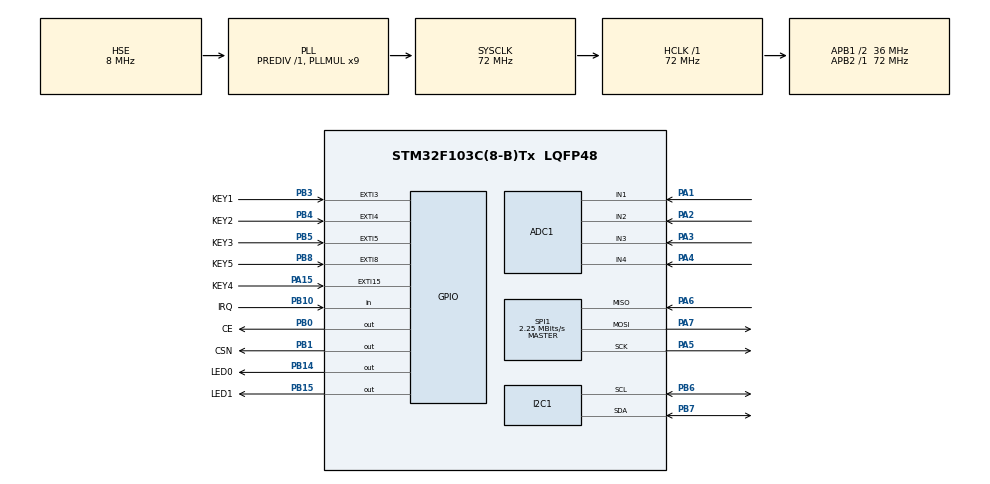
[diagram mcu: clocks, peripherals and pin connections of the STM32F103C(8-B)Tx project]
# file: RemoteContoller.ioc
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ADC1.Channel-1\#ChannelRegularConversion=ADC_CHANNEL_1
ADC1.Channel-2\#ChannelRegularConversion=ADC_CHANNEL_2
ADC1.Channel-3\#ChannelRegularConversion=ADC_CHANNEL_3
ADC1.Channel-4\#ChannelRegularConversion=ADC_CHANNEL_4
ADC1.ContinuousConvMode=DISABLE
ADC1.NbrOfConversion=4
ADC1.NbrOfConversionFlag=1
ADC1.Rank-1\#ChannelRegularConversion=1
ADC1.Rank-2\#ChannelRegularConversion=2
ADC1.Rank-3\#ChannelRegularConversion=3
ADC1.Rank-4\#ChannelRegularConversion=4
ADC1.SamplingTime-1\#ChannelRegularConversion=ADC_SAMPLETIME_55CYCLES_5
ADC1.SamplingTime-2\#ChannelRegularConversion=ADC_SAMPLETIME_55CYCLES_5
ADC1.SamplingTime-3\#ChannelRegularConversion=ADC_SAMPLETIME_55CYCLES_5
ADC1.SamplingTime-4\#ChannelRegularConversion=ADC_SAMPLETIME_55CYCLES_5
ADC1.master=1
Dma.ADC1.0.Direction=DMA_PERIPH_TO_MEMORY
Dma.ADC1.0.Instance=DMA1_Channel1
Dma.ADC1.0.MemDataAlignment=DMA_MDATAALIGN_HALFWORD
Dma.ADC1.0.MemInc=DMA_MINC_ENABLE
Dma.ADC1.0.Mode=DMA_CIRCULAR
Dma.ADC1.0.PeriphDataAlignment=DMA_PDATAALIGN_HALFWORD
Dma.ADC1.0.PeriphInc=DMA_PINC_DISABLE
Dma.ADC1.0.Priority=DMA_PRIORITY_LOW
Dma.Request0=ADC1
Mcu.Family=STM32F1
Mcu.Name=STM32F103C(8-B)Tx
Mcu.Package=LQFP48
NVIC.DMA1_Channel1_IRQn=true\:2\:0\:true\:false\:true\:false\:true\:true
NVIC.EXTI15_10_IRQn=true\:0\:0\:false\:false\:true\:true\:true\:true
NVIC.EXTI3_IRQn=true\:0\:0\:false\:false\:true\:true\:true\:true
NVIC.EXTI4_IRQn=true\:0\:0\:false\:false\:true\:true\:true\:true
NVIC.EXTI9_5_IRQn=true\:0\:0\:true\:false\:true\:true\:true\:true
NVIC.PriorityGroup=NVIC_PRIORITYGROUP_4
NVIC.TIM4_IRQn=true\:3\:0\:true\:false\:true\:true\:true\:true
PA1.Signal=ADCx_IN1
PA15.GPIO_Label=KEY4
PA15.GPIO_ModeDefaultEXTI=GPIO_MODE_IT_FALLING
PA15.Signal=GPXTI15
PA2.Signal=ADCx_IN2
PA3.Signal=ADCx_IN3
PA4.Signal=ADCx_IN4
PA5.Mode=Full_Duplex_Master
PA5.Signal=SPI1_SCK
PA6.Mode=Full_Duplex_Master
PA6.Signal=SPI1_MISO
PA7.Mode=Full_Duplex_Master
PA7.Signal=SPI1_MOSI
PB0.GPIO_Label=CE
PB0.GPIO_Speed=GPIO_SPEED_FREQ_HIGH
PB0.Signal=GPIO_Output
PB1.GPIO_Label=CSN
PB1.GPIO_Speed=GPIO_SPEED_FREQ_HIGH
PB1.Signal=GPIO_Output
PB10.GPIO_Label=IRQ
PB10.GPIO_PuPd=GPIO_PULLUP
PB10.Signal=GPIO_Input
PB14.GPIO_Label=LED0
PB14.GPIO_Speed=GPIO_SPEED_FREQ_HIGH
PB14.PinState=GPIO_PIN_SET
PB14.Signal=GPIO_Output
PB15.GPIO_Label=LED1
PB15.GPIO_Speed=GPIO_SPEED_FREQ_HIGH
PB15.Signal=GPIO_Output
PB3.GPIO_Label=KEY1
PB3.GPIO_ModeDefaultEXTI=GPIO_MODE_IT_RISING
PB3.Signal=GPXTI3
PB4.GPIO_Label=KEY2
PB4.GPIO_ModeDefaultEXTI=GPIO_MODE_IT_FALLING
PB4.Signal=GPXTI4
PB5.GPIO_Label=KEY3
PB5.GPIO_ModeDefaultEXTI=GPIO_MODE_IT_FALLING
PB5.Signal=GPXTI5
PB6.Mode=I2C
PB6.Signal=I2C1_SCL
PB7.Mode=I2C
PB7.Signal=I2C1_SDA
PB8.GPIO_Label=KEY5
PB8.GPIO_ModeDefaultEXTI=GPIO_MODE_IT_FALLING
PB8.Signal=GPXTI8
PC14-OSC32_IN.Mode=LSE-External-Oscillator
PC14-OSC32_IN.Signal=RCC_OSC32_IN
PC15-OSC32_OUT.Mode=LSE-External-Oscillator
PC15-OSC32_OUT.Signal=RCC_OSC32_OUT
PD0-OSC_IN.Mode=HSE-External-Oscillator
PD0-OSC_IN.Signal=RCC_OSC_IN
PD1-OSC_OUT.Mode=HSE-External-Oscillator
PD1-OSC_OUT.Signal=RCC_OSC_OUT
ProjectManager.HeapSize=0x200
ProjectManager.StackSize=0x400
ProjectManager.TargetToolchain=STM32CubeIDE
RCC.ADCPresc=RCC_ADCPCLK2_DIV6
RCC.AHBFreq_Value=72000000
RCC.APB1CLKDivider=RCC_HCLK_DIV2
RCC.APB1Freq_Value=36000000
RCC.APB1TimFreq_Value=72000000
RCC.APB2Freq_Value=72000000
RCC.APB2TimFreq_Value=72000000
RCC.HCLKFreq_Value=72000000
RCC.PLLMUL=RCC_PLL_MUL9
RCC.PLLSourceVirtual=RCC_PLLSOURCE_HSE
RCC.SYSCLKFreq_VALUE=72000000
RCC.SYSCLKSource=RCC_SYSCLKSOURCE_PLLCLK
RCC.USBFreq_Value=72000000
SH.ADCx_IN1.0=ADC1_IN1,IN1
SH.ADCx_IN2.0=ADC1_IN2,IN2
SH.ADCx_IN3.0=ADC1_IN3,IN3
SH.ADCx_IN4.0=ADC1_IN4,IN4
SPI1.BaudRatePrescaler=SPI_BAUDRATEPRESCALER_32
SPI1.CalculateBaudRate=2.25 MBits/s
SPI1.DataSize=SPI_DATASIZE_8BIT
SPI1.Direction=SPI_DIRECTION_2LINES
SPI1.Mode=SPI_MODE_MASTER
SPI1.VirtualType=VM_MASTER
TIM4.Period=7200-1
TIM4.Prescaler=1000-1
VP_SYS_VS_ND.Mode=No_Debug
VP_TIM4_VS_ClockSourceINT.Mode=Internal
board=custom

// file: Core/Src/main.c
/* USER CODE BEGIN Header */
/**
  ******************************************************************************
  * @file           : main.c
  * @brief          : Main program body
  ******************************************************************************
  * @attention
  *
  * Copyright (c) 2024 STMicroelectronics.
  * All rights reserved.
  *
  * This software is licensed under terms that can be found in the LICENSE file
  * in the root directory of this software component.
  * If no LICENSE file comes with this software, it is provided AS-IS.
  *
  ******************************************************************************
  */
/* USER CODE END Header */
#include "main.h"
#include "adc.h"
#include "dma.h"
#include "i2c.h"
#include "spi.h"
#include "tim.h"
#include "gpio.h"

/* USER CODE BEGIN Includes */
#include "nrf24.h"
#include "oled.h"
#include "menucontrol.h"
/* USER CODE END Includes */

/* USER CODE BEGIN PTD */

unsigned char Menu_Level = 1;
unsigned char SaveData_Should_Cpy;
unsigned char Focus_Line;
unsigned char Up_Limit = 1;
unsigned char Down_Limit = 4;
uint32_t delay_250ms = 3127 * 250;
uint32_t delay_1s = 3127 * 1000;

/* USER CODE END PTD */

/* USER CODE BEGIN PV */
unsigned char Menu_State = 0x00;
unsigned char Roller_UD_Control_State = 0;
unsigned char Trans_State = 0;
unsigned char Shovel_Manual_State = 0;
unsigned char Detect_Mode_State = 0;
unsigned char Platform_Mode_State = 0;
unsigned char Boost_State = 0;
unsigned char Key_OK = 1;

void HAL_GPIO_EXTI_Callback(uint16_t GPIO_Pin)
{
    UNUSED(GPIO_Pin);
    if (Key_OK == 1)
    {

        if (GPIO_Pin == KEY3_Pin)
        {
            Menu_State = 0x05;
        }
        if (GPIO_Pin == KEY2_Pin)
        {
            Menu_State = 0x04;
        }
        if (GPIO_Pin == KEY5_Pin) // StepOut
        {
            if (Menu_Level != 1)
            {
                OLED_Clear();
                Menu_Level = 1;
                SaveData_Should_Cpy = 1;
                OLED_ShowString(1, 1, "Roller&Boost");
                OLED_ShowString(2, 1, "Trans");
                OLED_ShowString(3, 1, "Sholve");
                OLED_ShowString(4, 1, "Camera&Platform");
                Control_Init();
                Up_Limit = 1;
                Down_Limit = 4;
                if (Shovel_Manual_State == 1)
                {
                    Menu_State = 0x19;
                    Shovel_Manual_State = 0;
                } else if (Detect_Mode_State == 1)
                {
                    Menu_State = 0x20;
                    Detect_Mode_State = 0;
                } else if (Platform_Mode_State == 1)
                {
                    Menu_State = 0x2C;
                    Platform_Mode_State = 0;
                } else if (Roller_UD_Control_State == 1)
                {
                    Menu_State = 0x34;
                    Roller_UD_Control_State = 0;
                } else if(Boost_State == 1)
                {
                    Menu_State = 0x38;
                    Boost_State = 0;
                }
            }
            if (Menu_State == 1)
            {

            }
        }
        if (GPIO_Pin == KEY4_Pin) // StepIn
        {
            if (Menu_Level == 1)
            {
                switch (Focus_Line)
                {
                    case 1:
                    {
                        OLED_Clear();
                        Menu_Level = 2;
                        SaveData_Should_Cpy = 1;
                        OLED_ShowString(1, 1, "*Roller*");
                        OLED_ShowString(2, 1, "Up&Down");
                        OLED_ShowString(3,1,"Boost_Mode");
                        Up_Limit = 2;
                        Down_Limit = 3;
                        Menu_Sec_Init();
                        break;
                    }
                    case 2:
                    {
                        OLED_Clear();
                        Menu_Level = 3;
                        SaveData_Should_Cpy = 1;
                        OLED_ShowString(1, 1, "*Trans*");
                        OLED_ShowString(2, 1, "Start or Stop");
                        OLED_ShowString(3, 1, "UnFold");
                        OLED_ShowString(4, 1, "Fold");
                        Up_Limit = 2;
                        Down_Limit = 4;
                        Menu_Sec_Init();
                        break;
                    }
                    case 3:
                    {
                        OLED_Clear();
                        Menu_Level = 4;
                        SaveData_Should_Cpy = 1;
                        OLED_ShowString(1, 1, "*Sholve*");
                        OLED_ShowString(2, 1, "Manual*None*");
                        OLED_ShowString(3, 1, "Auto Once");
                        OLED_ShowString(4, 1, "Manual Switch");
                        Up_Limit = 3;
                        Down_Limit = 4;
                        Menu_Sec_Init();
                        break;
                    }
                    case 4:
                    {
                        OLED_Clear();
                        Menu_Level = 5;
                        SaveData_Should_Cpy = 1;
                        OLED_ShowString(1, 1, "*Camera*");
                        OLED_ShowString(3, 1, "Detect Mode");
                        OLED_ShowString(4, 1, "Platform");
                        Up_Limit = 3;
                        Down_Limit = 4;
                        Menu_Sec_Init();
                        break;
                    }
                    default:
                    {
                    }
                }
            } else if (Menu_Level == 2) //Roller
            {
                switch (Focus_Line)
                {
                    case 2:
                    {
                        if (Roller_UD_Control_State == 0)
                        {
                            Menu_State = 0x35;
                            Roller_UD_Control_State = 1;
                            OLED_ShowString(4, 1, "Controlling");
                        } else if (Roller_UD_Control_State == 1)
                        {
                            Menu_State = 0x34;
                            Roller_UD_Control_State = 0;
                            OLED_ShowString(4, 1, "           ");
                        }
                        break;
                    }
                    case 3:
                    {
                        if(Boost_State == 0)
                        {
                            Menu_State = 0x39;
                            Boost_State = 1;
                            OLED_ShowString(4,1,"Boosting");
                        } else if(Boost_State == 1)
                        {
                            Menu_State =0x38;
                            Boost_State = 0;
                            OLED_ShowString(4, 1, "           ");
                        }
                    }
                    default:
                    {
                    }
                }
            } else if (Menu_Level == 3) // Trans
            {
                switch (Focus_Line)
                {
                    case 2: // Start and Stop
                    {
                        if (Trans_State == 0)
                        {
                            Menu_State = 0x0D;
                            Trans_State = 1;
                            OLED_ShowString(1, 1, "*Trans*Running");
                        } else if (Trans_State == 1)
                        {
                            Menu_State = 0x0C;
                            Trans_State = 0;
                            OLED_ShowString(1, 1, "*Trans*       ");
                        }
                        break;
                    }
                    case 3: // Unfold
                    {
                        Menu_State = 0x11;
                        break;
                    }
                    case 4: // Fold
                    {
                        Menu_State = 0x10;
                        break;
                    }
                    default:
                    {
                    }
                }
            } else if (Menu_Level == 4)
            {
                switch (Focus_Line)
                {
                    case 3:
                    {
                        Menu_State = 0x15;
                        break;
                    }
                    case 4:
                    {
                        if (Shovel_Manual_State == 0)
                        {
                            Menu_State = 0x18;
                            OLED_ShowString(2, 1, "Manual*ON*    ");
                            Shovel_Manual_State = 1;
                        } else if (Shovel_Manual_State == 1)
                        {
                            Menu_State = 0x19;
                            OLED_ShowString(2, 1, "Manual*OFF* ");
                            Shovel_Manual_State = 0;
                        }
                    }
                    default:
                    {
                    }
                }
            } else if (Menu_Level == 5)
            {
                switch (Focus_Line)
                {
                    case 3:
                    {
                        if (Detect_Mode_State == 0)
                        {
                            Menu_State = 0x21;
                            OLED_ShowString(2, 1, "Detecting");
                            Detect_Mode_State = 1;
                            break;
                        } else if (Detect_Mode_State == 1)
                        {
                            Menu_State = 0x20;
                            OLED_ShowString(2, 1, "                ");
                            Detect_Mode_State = 0;
                        }
                        break;
                    }
                    case 4:
                    {
                        if (Platform_Mode_State == 0)
                        {
                            Menu_State = 0x2D;
                            OLED_ShowString(2, 1, "Platforming");
                            Platform_Mode_State = 1;
                        } else if (Platform_Mode_State == 1)
                        {
                            Menu_State = 0x2C;
                            OLED_ShowString(2, 1, "              ");
                            Platform_Mode_State = 0;
                        }
                        break;
                    }
                    default:
                    {
                    }
                }

            }
        }
        Key_OK = 0;
        HAL_TIM_Base_Start_IT(&htim4);
    }
}

void HAL_TIM_PeriodElapsedCallback(TIM_HandleTypeDef *htim)
{
    Key_OK = 1;
    HAL_TIM_Base_Stop(&htim4);
}
/* USER CODE END PV */

void SystemClock_Config(void);

/* USER CODE BEGIN 0 */
unsigned char txbuf[32] = {0};

void ADC_To_Txbuf(uint8_t headnum, uint8_t value)
{
    txbuf[headnum] = value;
}
/* USER CODE END 0 */

int main(void)
{

  /* MCU Configuration--------------------------------------------------------*/

  /* Reset of all peripherals, Initializes the Flash interface and the Systick. */
  HAL_Init();

  /* Configure the system clock */
  SystemClock_Config();

  /* Initialize all configured peripherals */
  MX_GPIO_Init();
  MX_DMA_Init();
  MX_SPI1_Init();
  MX_ADC1_Init();
  MX_I2C1_Init();
  MX_TIM4_Init();
  /* USER CODE BEGIN 2 */
    uint16_t ADC_Value[4];
    unsigned char i;
    unsigned char LR_MenuControl = 1;
    HAL_ADC_Init(&hadc1);
    NRF_Init();
    OLED_Init();
    HAL_ADCEx_Calibration_Start(&hadc1);
    HAL_Delay(20);
    NRF_Check();
    NRF_TX_Mode();
    HAL_ADC_Start(&hadc1);
    OLED_ShowString(1, 1, "Roller&Boost");
    OLED_ShowString(2, 1, "Trans");
    OLED_ShowString(3, 1, "Sholve");
    OLED_ShowString(4, 1, "Camera&Platform");
    Control_Init();
    HAL_GPIO_WritePin(LED0_GPIO_Port, LED0_Pin, GPIO_PIN_SET);
  /* USER CODE END 2 */

  /* Infinite loop */
  /* USER CODE BEGIN WHILE */
    while (1)
    {
        HAL_ADC_PollForConversion(&hadc1, 8);
        if (HAL_IS_BIT_SET(HAL_ADC_GetState(&hadc1), HAL_ADC_STATE_REG_EOC)) //Get ADC
        {
            HAL_ADC_Start_DMA(&hadc1, (uint32_t *) ADC_Value, sizeof(ADC_Value) / sizeof(ADC_Value[0]));
        }

        for (i = 0; i < 4; i++) // Send ADC Value to ZET6
        {
            ADC_To_Txbuf(i, (unsigned char) (ADC_Value[i] / 256));
        }
        txbuf[31] = Menu_State;
        if (NRF_TX_Packet(txbuf) == 0x20) //Send, and if Received ACK
        {
            Menu_State = 0;
        }
        HAL_Delay(20);

//        Menu Control
        if (Shovel_Manual_State == 0 && Platform_Mode_State == 0 && Roller_UD_Control_State == 0 && Boost_State == 0)
        {
            if (LR_MenuControl == 1)
            {
                if (ADC_Value[2] > 3000)
                {
                    Control_Up();
                    while (delay_250ms--);
                    delay_250ms = 3127 * 250;
                }
                if (ADC_Value[2] < 300)
                {
                    Control_Down();
                    while (delay_250ms--);
                    delay_250ms = 3127 * 250;
                }
            }
        }
    /* USER CODE END WHILE */

    }
}

void SystemClock_Config(void)
{
  RCC_OscInitTypeDef RCC_OscInitStruct = {0};
  RCC_ClkInitTypeDef RCC_ClkInitStruct = {0};
  RCC_PeriphCLKInitTypeDef PeriphClkInit = {0};

  /** Initializes the RCC Oscillators according to the specified parameters
  * in the RCC_OscInitTypeDef structure.
  */
  RCC_OscInitStruct.OscillatorType = RCC_OSCILLATORTYPE_HSE;
  RCC_OscInitStruct.HSEState = RCC_HSE_ON;
  RCC_OscInitStruct.HSEPredivValue = RCC_HSE_PREDIV_DIV1;
  RCC_OscInitStruct.HSIState = RCC_HSI_ON;
  RCC_OscInitStruct.PLL.PLLState = RCC_PLL_ON;
  RCC_OscInitStruct.PLL.PLLSource = RCC_PLLSOURCE_HSE;
  RCC_OscInitStruct.PLL.PLLMUL = RCC_PLL_MUL9;
  if (HAL_RCC_OscConfig(&RCC_OscInitStruct) != HAL_OK)
  {
    Error_Handler();
  }

  /** Initializes the CPU, AHB and APB buses clocks
  */
  RCC_ClkInitStruct.ClockType = RCC_CLOCKTYPE_HCLK|RCC_CLOCKTYPE_SYSCLK
                              |RCC_CLOCKTYPE_PCLK1|RCC_CLOCKTYPE_PCLK2;
  RCC_ClkInitStruct.SYSCLKSource = RCC_SYSCLKSOURCE_PLLCLK;
  RCC_ClkInitStruct.AHBCLKDivider = RCC_SYSCLK_DIV1;
  RCC_ClkInitStruct.APB1CLKDivider = RCC_HCLK_DIV2;
  RCC_ClkInitStruct.APB2CLKDivider = RCC_HCLK_DIV1;

  if (HAL_RCC_ClockConfig(&RCC_ClkInitStruct, FLASH_LATENCY_2) != HAL_OK)
  {
    Error_Handler();
  }
  PeriphClkInit.PeriphClockSelection = RCC_PERIPHCLK_ADC;
  PeriphClkInit.AdcClockSelection = RCC_ADCPCLK2_DIV6;
  if (HAL_RCCEx_PeriphCLKConfig(&PeriphClkInit) != HAL_OK)
  {
    Error_Handler();
  }
}

void Error_Handler(void)
{
    __disable_irq();
    while (1)
    {
    }
}
